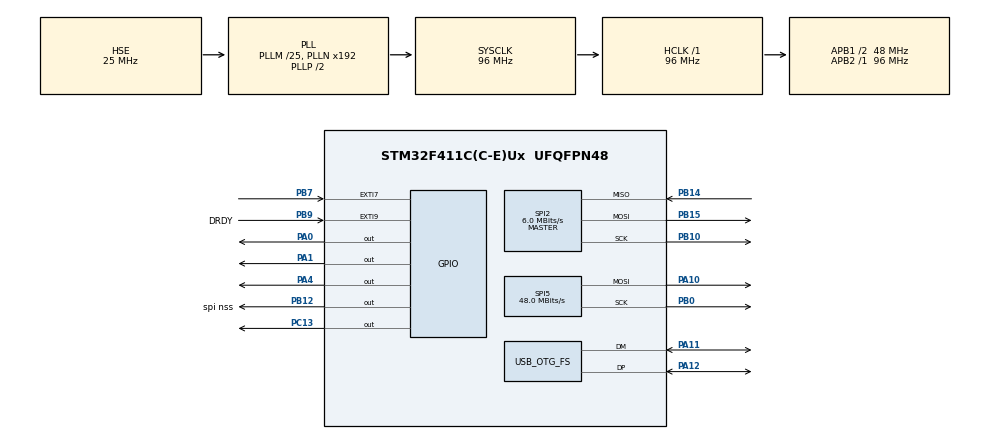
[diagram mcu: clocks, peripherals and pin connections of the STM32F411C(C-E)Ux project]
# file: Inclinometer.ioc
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Mcu.Family=STM32F4
Mcu.Name=STM32F411C(C-E)Ux
Mcu.Package=UFQFPN48
NVIC.EXTI9_5_IRQn=true\:0\:0\:false\:false\:true\:true\:true\:true
NVIC.OTG_FS_IRQn=true\:0\:0\:false\:false\:true\:false\:true\:true
NVIC.PriorityGroup=NVIC_PRIORITYGROUP_4
PA0-WKUP.Signal=GPIO_Output
PA1.Signal=GPIO_Output
PA10.Mode=TX_Only_Simplex_Unidirect_Master
PA10.Signal=SPI5_MOSI
PA11.Mode=Device_Only
PA11.Signal=USB_OTG_FS_DM
PA12.Mode=Device_Only
PA12.Signal=USB_OTG_FS_DP
PA13.Mode=Trace_Asynchronous_SW
PA13.Signal=SYS_JTMS-SWDIO
PA14.Mode=Trace_Asynchronous_SW
PA14.Signal=SYS_JTCK-SWCLK
PA4.Signal=GPIO_Output
PB0.Mode=TX_Only_Simplex_Unidirect_Master
PB0.Signal=SPI5_SCK
PB10.GPIO_PuPd=GPIO_PULLDOWN
PB10.Mode=Full_Duplex_Master
PB10.Signal=SPI2_SCK
PB12.GPIO_Label=spi nss
PB12.PinState=GPIO_PIN_SET
PB12.Signal=GPIO_Output
PB14.Mode=Full_Duplex_Master
PB14.Signal=SPI2_MISO
PB15.Mode=Full_Duplex_Master
PB15.Signal=SPI2_MOSI
PB3.Mode=Trace_Asynchronous_SW
PB3.Signal=SYS_JTDO-SWO
PB7.Signal=GPXTI7
PB9.GPIO_Label=DRDY
PB9.Signal=GPXTI9
PC13-ANTI_TAMP.Signal=GPIO_Output
PH0\ -\ OSC_IN.Mode=HSE-External-Oscillator
PH0\ -\ OSC_IN.Signal=RCC_OSC_IN
PH1\ -\ OSC_OUT.Mode=HSE-External-Oscillator
PH1\ -\ OSC_OUT.Signal=RCC_OSC_OUT
ProjectManager.HeapSize=0x200
ProjectManager.StackSize=0x400
ProjectManager.TargetToolchain=STM32CubeIDE
RCC.48MHZClocksFreq_Value=48000000
RCC.AHBFreq_Value=96000000
RCC.APB1CLKDivider=RCC_HCLK_DIV2
RCC.APB1Freq_Value=48000000
RCC.APB1TimFreq_Value=96000000
RCC.APB2Freq_Value=96000000
RCC.APB2TimFreq_Value=96000000
RCC.CortexFreq_Value=96000000
RCC.HCLKFreq_Value=96000000
RCC.HSE_VALUE=25000000
RCC.HSI_VALUE=16000000
RCC.LSE_VALUE=32768
RCC.PLLM=25
RCC.SYSCLKFreq_VALUE=96000000
RCC.SYSCLKSource=RCC_SYSCLKSOURCE_PLLCLK
RCC.VCOOutputFreq_Value=192000000
SPI2.BaudRatePrescaler=SPI_BAUDRATEPRESCALER_8
SPI2.CLKPhase=SPI_PHASE_1EDGE
SPI2.CLKPolarity=SPI_POLARITY_LOW
SPI2.CalculateBaudRate=6.0 MBits/s
SPI2.Direction=SPI_DIRECTION_2LINES
SPI2.Mode=SPI_MODE_MASTER
SPI2.VirtualType=VM_MASTER
SPI5.BaudRatePrescaler=SPI_BAUDRATEPRESCALER_2
SPI5.CalculateBaudRate=48.0 MBits/s
SPI5.Direction=SPI_DIRECTION_2LINES
SPI5.Mode=SPI_MODE_MASTER
SPI5.VirtualType=VM_MASTER
USB_DEVICE.CLASS_NAME_FS=CDC
USB_DEVICE.VirtualMode=Cdc
USB_DEVICE.VirtualModeFS=Cdc_FS
USB_OTG_FS.VirtualMode=Device_Only
VP_USB_DEVICE_VS_USB_DEVICE_CDC_FS.Mode=CDC_FS
board=custom

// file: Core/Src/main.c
/* USER CODE BEGIN Header */
/**
  ******************************************************************************
  * @file           : main.c
  * @brief          : Main program body
  ******************************************************************************
  * @attention
  *
  * Copyright (c) 2022 STMicroelectronics.
  * All rights reserved.
  *
  * This software is licensed under terms that can be found in the LICENSE file
  * in the root directory of this software component.
  * If no LICENSE file comes with this software, it is provided AS-IS.
  *
  ******************************************************************************
  */
/* USER CODE END Header */
#include "main.h"
#include "usb_device.h"

/* USER CODE BEGIN Includes */
#include "stdio.h"
#include "usbd_cdc_if.h"
#include "ADXL355_SPI.h"
#include "math.h"

/* USER CODE END Includes */

 SPI_HandleTypeDef hspi2;
SPI_HandleTypeDef hspi5;

/* USER CODE BEGIN PV */
static volatile int counterr = 0;
static volatile uint8_t dataready = 0;
char usb_inputs_buffer[64];
extern uint8_t char_received;

/* USER CODE END PV */

void SystemClock_Config(void);
static void MX_GPIO_Init(void);
static void MX_SPI2_Init(void);
static void MX_SPI5_Init(void);

int main(void)
{

  /* MCU Configuration--------------------------------------------------------*/

  /* Reset of all peripherals, Initializes the Flash interface and the Systick. */
  HAL_Init();

  /* Configure the system clock */
  SystemClock_Config();

  /* Initialize all configured peripherals */
  MX_GPIO_Init();
  MX_SPI2_Init();
  MX_SPI5_Init();
  MX_USB_DEVICE_Init();
  /* USER CODE BEGIN 2 */

  uint16_t oversamples = 1;
  uint16_t no_of_datareadys = 0;
  ADXL355_type adxl355;

  float x_oversample_sum = 0;
  float y_oversample_sum = 0;
  float z_oversample_sum = 0;

  for(int i = 3; i > 0; i--){
	  printf("Starting in %i...\n\r", i);
	  HAL_Delay(1000);
  }
  printf("Requesting data from ADXL355... \n\r");
  uint8_t status;
  status = ADXL355_init(&adxl355, &hspi2, GPIOB, GPIO_PIN_12);
  printf("Status: %i\n\r", status);

  /* USER CODE END 2 */

  /* Infinite loop */
  /* USER CODE BEGIN WHILE */
  while (1)
  {
//	  if (char_received == 1){
//		  CDC_Transmit_FS((uint8_t *)usb_inputs_buffer, strlen(usb_inputs_buffer));
//		  char_received = 0;
//	  }
//	  for (uint8_t j = 0; j < 10; j++){
//		  printf("%c", usb_inputs_buffer[j]);
//	  }
//	  fflush(stdout);

	//HAL_Delay(1000);

	//printf("Requesting data from ADXL355... \n\r");
	//HAL_Delay(1);
//	status = ADXL355_init(&adxl355, &hspi2, GPIOB, GPIO_PIN_12);
//	printf("Status: %i\n\r", status);
//	printf("\n");
//	status = ADXL355_ReadTemperature(&adxl355);
//	printf("Temperature: %f\n", adxl355.temperature_deg_c);
//	HAL_Delay(1);
//	printf("Status: %i\n\r", status);
//	HAL_Delay(1);

	//status = ADXL355_ReadAccelerations(&adxl355);
	//printf("Acceleration x (G): %f\n\r", adxl355.acceleration_x_g);
	//HAL_Delay(1);
	//printf("Acceleration y (G): %f\n\r", adxl355.acceleration_y_g);
	//HAL_Delay(1);
	//printf("Acceleration z (G): %f\n\r", adxl355.acceleration_z_g);
	//HAL_Delay(1);

	if (dataready == 1){
		// put acceleration data for all axes in their respective buffers so oversampling can be performed and increment the index for the array
		status = ADXL355_ReadAccelerations(&adxl355);
		x_oversample_sum += adxl355.acceleration_x_g;
		y_oversample_sum += adxl355.acceleration_y_g;
		z_oversample_sum += adxl355.acceleration_z_g;

		no_of_datareadys += 1;

		if (no_of_datareadys == oversamples){
			HAL_GPIO_TogglePin(GPIOC, GPIO_PIN_13);  // PC13 = LED
			//printf("data is ready x250    ");
			//printf("acc_x = %f    ", adxl355.acceleration_x_g);
			//printf("acc_x_sum = %f    ", x_oversample_sum);
			float ax_avg = x_oversample_sum/oversamples;
			float ay_avg = y_oversample_sum/oversamples;
			float az_avg = z_oversample_sum/oversamples;

			printf("x_avg = %f  ", ax_avg);
			printf("y_avg = %f  ", ay_avg);
			printf("z_avg = %f  ", az_avg);

			//float xz_sum = ax_avg+az_avg;
			//printf("xz_sum = %f  ", xz_sum);
			//printf("\n\r");

			no_of_datareadys = 0;
			x_oversample_sum = 0;
			y_oversample_sum = 0;
			z_oversample_sum = 0;

			float tilt =  180 * ((asinf(ax_avg))/M_PI);
			printf("tilt: %f deg ", tilt);
			printf("\n\r");

			//float pitch2 = asinf(ax_avg);
			//float pitch = 180 * pitch2 / M_PI;
			//printf("pitch: %f  \n\r", pitch);
			//printf("roll:   \n\r", roll)
		}
		dataready = 0;
	}

    /* USER CODE END WHILE */

  }
}

void SystemClock_Config(void)
{
  RCC_OscInitTypeDef RCC_OscInitStruct = {0};
  RCC_ClkInitTypeDef RCC_ClkInitStruct = {0};

  /** Configure the main internal regulator output voltage
  */
  __HAL_RCC_PWR_CLK_ENABLE();
  __HAL_PWR_VOLTAGESCALING_CONFIG(PWR_REGULATOR_VOLTAGE_SCALE1);

  /** Initializes the RCC Oscillators according to the specified parameters
  * in the RCC_OscInitTypeDef structure.
  */
  RCC_OscInitStruct.OscillatorType = RCC_OSCILLATORTYPE_HSE;
  RCC_OscInitStruct.HSEState = RCC_HSE_ON;
  RCC_OscInitStruct.PLL.PLLState = RCC_PLL_ON;
  RCC_OscInitStruct.PLL.PLLSource = RCC_PLLSOURCE_HSE;
  RCC_OscInitStruct.PLL.PLLM = 25;
  RCC_OscInitStruct.PLL.PLLN = 192;
  RCC_OscInitStruct.PLL.PLLP = RCC_PLLP_DIV2;
  RCC_OscInitStruct.PLL.PLLQ = 4;
  if (HAL_RCC_OscConfig(&RCC_OscInitStruct) != HAL_OK)
  {
    Error_Handler();
  }

  /** Initializes the CPU, AHB and APB buses clocks
  */
  RCC_ClkInitStruct.ClockType = RCC_CLOCKTYPE_HCLK|RCC_CLOCKTYPE_SYSCLK
                              |RCC_CLOCKTYPE_PCLK1|RCC_CLOCKTYPE_PCLK2;
  RCC_ClkInitStruct.SYSCLKSource = RCC_SYSCLKSOURCE_PLLCLK;
  RCC_ClkInitStruct.AHBCLKDivider = RCC_SYSCLK_DIV1;
  RCC_ClkInitStruct.APB1CLKDivider = RCC_HCLK_DIV2;
  RCC_ClkInitStruct.APB2CLKDivider = RCC_HCLK_DIV1;

  if (HAL_RCC_ClockConfig(&RCC_ClkInitStruct, FLASH_LATENCY_3) != HAL_OK)
  {
    Error_Handler();
  }
}

static void MX_SPI2_Init(void)
{

  /* SPI2 parameter configuration*/
  hspi2.Instance = SPI2;
  hspi2.Init.Mode = SPI_MODE_MASTER;
  hspi2.Init.Direction = SPI_DIRECTION_2LINES;
  hspi2.Init.DataSize = SPI_DATASIZE_8BIT;
  hspi2.Init.CLKPolarity = SPI_POLARITY_LOW;
  hspi2.Init.CLKPhase = SPI_PHASE_1EDGE;
  hspi2.Init.NSS = SPI_NSS_SOFT;
  hspi2.Init.BaudRatePrescaler = SPI_BAUDRATEPRESCALER_8;
  hspi2.Init.FirstBit = SPI_FIRSTBIT_MSB;
  hspi2.Init.TIMode = SPI_TIMODE_DISABLE;
  hspi2.Init.CRCCalculation = SPI_CRCCALCULATION_DISABLE;
  hspi2.Init.CRCPolynomial = 10;
  if (HAL_SPI_Init(&hspi2) != HAL_OK)
  {
    Error_Handler();
  }

}

static void MX_SPI5_Init(void)
{

  /* SPI5 parameter configuration*/
  hspi5.Instance = SPI5;
  hspi5.Init.Mode = SPI_MODE_MASTER;
  hspi5.Init.Direction = SPI_DIRECTION_2LINES;
  hspi5.Init.DataSize = SPI_DATASIZE_8BIT;
  hspi5.Init.CLKPolarity = SPI_POLARITY_LOW;
  hspi5.Init.CLKPhase = SPI_PHASE_1EDGE;
  hspi5.Init.NSS = SPI_NSS_SOFT;
  hspi5.Init.BaudRatePrescaler = SPI_BAUDRATEPRESCALER_2;
  hspi5.Init.FirstBit = SPI_FIRSTBIT_MSB;
  hspi5.Init.TIMode = SPI_TIMODE_DISABLE;
  hspi5.Init.CRCCalculation = SPI_CRCCALCULATION_DISABLE;
  hspi5.Init.CRCPolynomial = 10;
  if (HAL_SPI_Init(&hspi5) != HAL_OK)
  {
    Error_Handler();
  }

}

static void MX_GPIO_Init(void)
{
  GPIO_InitTypeDef GPIO_InitStruct = {0};

  /* GPIO Ports Clock Enable */
  __HAL_RCC_GPIOC_CLK_ENABLE();
  __HAL_RCC_GPIOH_CLK_ENABLE();
  __HAL_RCC_GPIOA_CLK_ENABLE();
  __HAL_RCC_GPIOB_CLK_ENABLE();

  /*Configure GPIO pin Output Level */
  HAL_GPIO_WritePin(GPIOC, GPIO_PIN_13, GPIO_PIN_RESET);

  /*Configure GPIO pin Output Level */
  HAL_GPIO_WritePin(GPIOA, GPIO_PIN_0|GPIO_PIN_1|GPIO_PIN_4, GPIO_PIN_RESET);

  /*Configure GPIO pin Output Level */
  HAL_GPIO_WritePin(spi_nss_GPIO_Port, spi_nss_Pin, GPIO_PIN_SET);

  /*Configure GPIO pin : PC13 */
  GPIO_InitStruct.Pin = GPIO_PIN_13;
  GPIO_InitStruct.Mode = GPIO_MODE_OUTPUT_PP;
  GPIO_InitStruct.Pull = GPIO_NOPULL;
  GPIO_InitStruct.Speed = GPIO_SPEED_FREQ_LOW;
  HAL_GPIO_Init(GPIOC, &GPIO_InitStruct);

  /*Configure GPIO pins : PA0 PA1 PA4 */
  GPIO_InitStruct.Pin = GPIO_PIN_0|GPIO_PIN_1|GPIO_PIN_4;
  GPIO_InitStruct.Mode = GPIO_MODE_OUTPUT_PP;
  GPIO_InitStruct.Pull = GPIO_NOPULL;
  GPIO_InitStruct.Speed = GPIO_SPEED_FREQ_LOW;
  HAL_GPIO_Init(GPIOA, &GPIO_InitStruct);

  /*Configure GPIO pin : spi_nss_Pin */
  GPIO_InitStruct.Pin = spi_nss_Pin;
  GPIO_InitStruct.Mode = GPIO_MODE_OUTPUT_PP;
  GPIO_InitStruct.Pull = GPIO_NOPULL;
  GPIO_InitStruct.Speed = GPIO_SPEED_FREQ_LOW;
  HAL_GPIO_Init(spi_nss_GPIO_Port, &GPIO_InitStruct);

  /*Configure GPIO pins : PB7 DRDY_Pin */
  GPIO_InitStruct.Pin = GPIO_PIN_7|DRDY_Pin;
  GPIO_InitStruct.Mode = GPIO_MODE_IT_RISING;
  GPIO_InitStruct.Pull = GPIO_NOPULL;
  HAL_GPIO_Init(GPIOB, &GPIO_InitStruct);

  /* EXTI interrupt init*/
  HAL_NVIC_SetPriority(EXTI9_5_IRQn, 0, 0);
  HAL_NVIC_EnableIRQ(EXTI9_5_IRQn);

}

/* USER CODE BEGIN 4 */
// redirect printf to USB
int _write(int file, char *ptr, int len) {
	CDC_Transmit_FS((uint8_t*) ptr, len); return len;
}

void HAL_GPIO_EXTI_Callback(uint16_t GPIO_Pin){
	if (GPIO_Pin == GPIO_PIN_7){
			dataready = 1;
		}
	}

//HAL_StatusTypeDef HAL_SPI_TransmitReceive_DMA(SPI_HandleTypeDef *hspi, uint8_t * pTxData, uint8_t * pRxData, uint16_t Size){
//	if (hspi == &hspi2)
//	{
//		printf("lol");
//	}
//}

/* USER CODE END 4 */

void Error_Handler(void)
{
  __disable_irq();
  while (1)
  {
  }
}
